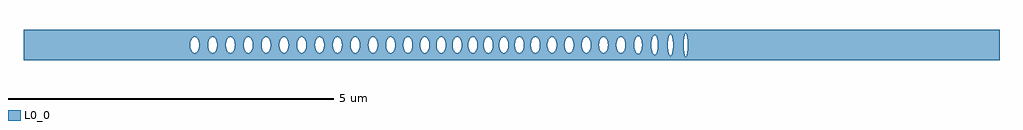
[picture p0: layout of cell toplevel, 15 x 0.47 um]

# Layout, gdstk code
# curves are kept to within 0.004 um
import gdstk
lib = gdstk.Library(unit=1e-6, precision=1e-09)
def P(c, l, *ps):  # polygons
    for p in ps: c.add(gdstk.Polygon(p, *l))
L0_0 = (0, 0)

toplevel = lib.new_cell('toplevel')
P(toplevel, L0_0, [(-4.365,-0.235),(-4.365,-0.096),(-4.382,-0.06),(-4.39,-0.016),(-4.384,0.053),(-4.365,0.096),(-4.365,0.235),(-7.5,0.235),(-7.5,0),(-4.939,0),(-4.934,0.046),(-4.919,0.085),(-4.902,0.109),(-4.873,0.124),(-4.846,0.118),(-4.817,0.085),(-4.801,0.038),(-4.798,-0.016),(-4.664,-0.016),(-4.661,0.038),(-4.651,0.073),(-4.628,0.109),(-4.598,0.124),(-4.572,0.118),(-4.549,0.096),(-4.532,0.06),(-4.524,0.016),(-4.528,-0.046),(-4.537,-0.073),(-4.56,-0.109),(-4.59,-0.124),(-4.616,-0.118),(-4.639,-0.096),(-4.656,-0.06),(-4.664,-0.016),(-4.798,-0.016),(-4.806,-0.06),(-4.83,-0.105),(-4.855,-0.122),(-4.881,-0.122),(-4.906,-0.105),(-4.925,-0.073),(-4.939,0),(-7.5,0),(-7.5,-0.235)],
  [(-4.358,0.105),(-4.324,0.124),(-4.302,0.12),(-4.282,0.105),(-4.254,0.046),(-4.25,-0.016),(-4.116,-0.016),(-4.11,0.053),(-4.091,0.096),(-4.068,0.118),(-4.033,0.122),(-4.008,0.105),(-3.991,0.079),(-3.98,0.046),(-3.975,-0.008),(-3.98,-0.046),(-3.994,-0.085),(-4.012,-0.109),(-4.041,-0.124),(-4.068,-0.118),(-4.091,-0.096),(-4.108,-0.06),(-4.116,-0.016),(-4.25,-0.016),(-4.263,-0.073),(-4.278,-0.1),(-4.298,-0.118),(-4.315,-0.124),(-4.333,-0.122),(-4.365,-0.096),(-4.365,-0.235),(-3.738,-0.235),(-3.738,-0.109),(-3.767,-0.124),(-3.785,-0.122),(-3.806,-0.109),(-3.829,-0.073),(-3.842,-0.016),(-3.839,0.038),(-3.817,0.096),(-3.798,0.115),(-3.776,0.124),(-3.758,0.122),(-3.738,0.109),(-3.738,0.235),(-4.365,0.235),(-4.365,0.096)],
  [(-3.738,0.235),(-3.738,0.109),(-3.71,0.06),(-3.701,-0.008),(-3.568,-0.008),(-3.565,0.038),(-3.555,0.073),(-3.532,0.109),(-3.502,0.124),(-3.476,0.118),(-3.449,0.09),(-3.432,0.046),(-3.427,0.008),(-3.429,-0.031),(-3.443,-0.079),(-3.464,-0.109),(-3.493,-0.124),(-3.519,-0.118),(-3.546,-0.09),(-3.563,-0.046),(-3.568,-0.008),(-3.701,-0.008),(-3.712,-0.067),(-3.738,-0.109),(-3.738,-0.235),(-3.158,-0.235),(-3.158,-0.046),(-3.172,-0.085),(-3.193,-0.112),(-3.21,-0.122),(-3.237,-0.122),(-3.257,-0.109),(-3.275,-0.085),(-3.289,-0.046),(-3.294,-0.008),(-3.292,0.031),(-3.278,0.079),(-3.261,0.105),(-3.237,0.122),(-3.21,0.122),(-3.193,0.112),(-3.172,0.085),(-3.158,0.046),(-3.158,0.235)],
  [(-2.469,-0.031),(-2.468,0.235),(-3.158,0.235),(-3.153,-0.008),(-3.02,-0.008),(-3.018,0.031),(-3.004,0.079),(-2.983,0.109),(-2.954,0.124),(-2.928,0.118),(-2.904,0.096),(-2.882,0.038),(-2.879,-0.008),(-2.746,-0.008),(-2.741,0.046),(-2.73,0.079),(-2.709,0.109),(-2.68,0.124),(-2.653,0.118),(-2.63,0.096),(-2.613,0.06),(-2.605,0.016),(-2.608,-0.038),(-2.618,-0.073),(-2.641,-0.109),(-2.671,-0.124),(-2.697,-0.118),(-2.72,-0.096),(-2.737,-0.06),(-2.746,-0.008),(-2.879,-0.008),(-2.884,-0.046),(-2.904,-0.096),(-2.923,-0.115),(-2.945,-0.124),(-2.971,-0.118),(-2.998,-0.09),(-3.015,-0.046),(-3.02,-0.008),(-3.153,-0.008),(-3.158,-0.046),(-3.158,-0.235),(-2.468,-0.235)],
  [(-1.927,0.016),(-1.912,0.079),(-1.879,0.118),(-1.879,0.235),(-2.468,0.235),(-2.468,0.038),(-2.458,0.073),(-2.439,0.105),(-2.419,0.12),(-2.397,0.124),(-2.367,0.109),(-2.344,0.073),(-2.334,0.038),(-2.331,-0.016),(-2.198,-0.016),(-2.195,0.038),(-2.179,0.085),(-2.15,0.118),(-2.123,0.124),(-2.094,0.109),(-2.076,0.085),(-2.062,0.046),(-2.057,0.008),(-2.062,-0.046),(-2.076,-0.085),(-2.094,-0.109),(-2.123,-0.124),(-2.15,-0.118),(-2.173,-0.096),(-2.19,-0.06),(-2.198,-0.016),(-2.331,-0.016),(-2.339,-0.06),(-2.356,-0.096),(-2.379,-0.118),(-2.397,-0.124),(-2.419,-0.12),(-2.439,-0.105),(-2.458,-0.073),(-2.468,-0.041),(-2.468,-0.235),(-1.879,-0.235),(-1.879,-0.118),(-1.902,-0.096),(-1.917,-0.066),(-1.927,-0.023)],
  [(-1.866,0.123),(-1.844,0.122),(-1.812,0.096),(-1.79,0.038),(-1.787,-0.016),(-1.662,-0.016),(-1.658,0.046),(-1.637,0.096),(-1.605,0.122),(-1.574,0.12),(-1.547,0.096),(-1.53,0.06),(-1.522,-0.016),(-1.53,-0.06),(-1.547,-0.096),(-1.57,-0.118),(-1.588,-0.124),(-1.614,-0.118),(-1.637,-0.096),(-1.654,-0.06),(-1.662,-0.016),(-1.787,-0.016),(-1.8,-0.073),(-1.823,-0.109),(-1.853,-0.124),(-1.879,-0.118),(-1.879,-0.235),(-1.282,-0.235),(-1.282,-0.085),(-1.295,-0.105),(-1.315,-0.12),(-1.337,-0.124),(-1.355,-0.118),(-1.371,-0.105),(-1.39,-0.073),(-1.403,-0.016),(-1.395,0.06),(-1.367,0.109),(-1.346,0.122),(-1.32,0.122),(-1.299,0.109),(-1.282,0.085),(-1.282,0.235),(-1.879,0.235),(-1.879,0.118)],
  [(-1.265,-0.031),(-1.282,-0.085),(-1.282,-0.235),(-0.662,-0.235),(-0.662,0.235),(-1.282,0.235),(-1.282,0.085),(-1.267,0.046),(-1.263,-0.016),(-1.151,-0.016),(-1.148,0.038),(-1.138,0.073),(-1.115,0.109),(-1.085,0.124),(-1.059,0.118),(-1.029,0.085),(-1.012,0.031),(-1.011,-0.016),(-0.905,-0.016),(-0.902,0.038),(-0.88,0.096),(-0.857,0.118),(-0.839,0.124),(-0.822,0.122),(-0.801,0.109),(-0.773,0.06),(-0.764,-0.008),(-0.78,-0.079),(-0.797,-0.105),(-0.817,-0.12),(-0.844,-0.123),(-0.869,-0.109),(-0.892,-0.073),(-0.905,-0.016),(-1.011,-0.016),(-1.015,-0.046),(-1.032,-0.09),(-1.047,-0.109),(-1.076,-0.124),(-1.102,-0.118),(-1.126,-0.096),(-1.138,-0.073),(-1.151,-0.016),(-1.263,-0.016)],
  [(-0.661,0.038),(-0.651,0.073),(-0.632,0.105),(-0.607,0.122),(-0.589,0.124),(-0.56,0.109),(-0.542,0.085),(-0.528,0.046),(-0.524,-0.016),(-0.426,-0.016),(-0.423,0.038),(-0.407,0.085),(-0.378,0.118),(-0.351,0.124),(-0.322,0.109),(-0.304,0.085),(-0.29,0.046),(-0.285,0),(-0.29,-0.046),(-0.304,-0.085),(-0.322,-0.109),(-0.351,-0.124),(-0.378,-0.118),(-0.401,-0.096),(-0.418,-0.06),(-0.426,-0.016),(-0.524,-0.016),(-0.542,-0.085),(-0.56,-0.109),(-0.589,-0.124),(-0.607,-0.122),(-0.632,-0.105),(-0.651,-0.073),(-0.662,-0.034),(-0.662,-0.235),(-0.153,-0.235),(-0.153,-0.109),(-0.176,-0.073),(-0.189,-0.016),(-0.18,0.06),(-0.153,0.109),(-0.153,0.235),(-0.662,0.235)],
  [(0.297,0.016),(0.307,0.066),(0.333,0.109),(0.354,0.122),(0.371,0.124),(0.405,0.105),(0.405,0.235),(-0.153,0.235),(-0.153,0.109),(-0.132,0.122),(-0.114,0.124),(-0.081,0.105),(-0.057,0.06),(-0.048,-0.008),(0.05,-0.008),(0.052,0.031),(0.066,0.079),(0.087,0.109),(0.116,0.124),(0.143,0.118),(0.166,0.096),(0.178,0.073),(0.191,0.016),(0.188,-0.038),(0.178,-0.073),(0.155,-0.109),(0.125,-0.124),(0.099,-0.118),(0.076,-0.096),(0.059,-0.06),(0.05,-0.008),(-0.048,-0.008),(-0.059,-0.066),(-0.085,-0.109),(-0.114,-0.124),(-0.132,-0.122),(-0.153,-0.109),(-0.153,-0.235),(0.405,-0.235),(0.405,-0.105),(0.371,-0.124),(0.349,-0.12),(0.329,-0.105),(0.301,-0.046)],
  [(0.815,0.016),(0.833,0.085),(0.851,0.109),(0.88,0.124),(0.898,0.122),(0.923,0.105),(0.942,0.073),(0.952,0.038),(0.952,0.235),(0.405,0.235),(0.405,0.105),(0.431,0.053),(0.437,-0.008),(0.552,-0.008),(0.555,0.038),(0.565,0.073),(0.592,0.112),(0.618,0.124),(0.644,0.118),(0.671,0.09),(0.688,0.046),(0.693,0.008),(0.691,-0.031),(0.677,-0.079),(0.656,-0.109),(0.627,-0.124),(0.601,-0.118),(0.574,-0.09),(0.557,-0.046),(0.552,-0.008),(0.437,-0.008),(0.429,-0.06),(0.405,-0.105),(0.405,-0.235),(0.952,-0.235),(0.952,-0.038),(0.942,-0.073),(0.923,-0.105),(0.898,-0.122),(0.872,-0.122),(0.847,-0.105),(0.825,-0.066)],
  [(0.953,-0.031),(0.952,-0.235),(1.622,-0.235),(1.622,-0.066),(1.611,-0.016),(1.613,0.031),(1.622,0.066),(1.622,0.235),(0.952,0.235),(0.955,-0.016),(1.079,-0.016),(1.082,0.038),(1.092,0.073),(1.115,0.109),(1.145,0.124),(1.171,0.118),(1.198,0.09),(1.215,0.046),(1.22,0),(1.343,0),(1.348,0.046),(1.369,0.096),(1.392,0.118),(1.423,0.123),(1.459,0.096),(1.476,0.06),(1.484,0.016),(1.481,-0.038),(1.471,-0.073),(1.452,-0.105),(1.427,-0.122),(1.396,-0.12),(1.369,-0.096),(1.348,-0.046),(1.343,0),(1.22,0),(1.215,-0.046),(1.201,-0.085),(1.183,-0.109),(1.154,-0.124),(1.128,-0.118),(1.104,-0.096),(1.092,-0.073),(1.079,-0.016),(0.955,-0.016)],
  [(1.63,0.085),(1.659,0.118),(1.694,0.122),(1.719,0.105),(1.738,0.073),(1.752,0),(1.885,0),(1.891,0.059),(1.904,0.101),(1.931,0.134),(1.954,0.137),(1.972,0.125),(1.993,0.088),(2.004,0.043),(2.006,-0.017),(2.001,-0.059),(1.985,-0.106),(1.972,-0.125),(1.95,-0.138),(1.927,-0.131),(1.904,-0.101),(1.891,-0.059),(1.885,0),(1.752,0),(1.738,-0.073),(1.719,-0.105),(1.694,-0.122),(1.668,-0.122),(1.647,-0.109),(1.622,-0.067),(1.622,-0.235),(2.203,-0.235),(2.203,-0.152),(2.184,-0.145),(2.167,-0.117),(2.155,-0.073),(2.149,-0.01),(2.155,0.073),(2.165,0.111),(2.184,0.145),(2.203,0.152),(2.203,0.235),(1.622,0.235),(1.622,0.066)],
  [(2.246,-0.065),(2.23,-0.123),(2.215,-0.145),(2.203,-0.152),(2.203,-0.235),(7.5,-0.235),(7.5,0.235),(2.203,0.235),(2.203,0.152),(2.221,0.138),(2.239,0.097),(2.249,0.038),(2.249,-0.021),(2.402,-0.021),(2.411,0.106),(2.425,0.15),(2.44,0.166),(2.458,0.154),(2.474,0.106),(2.483,-0.011),(2.647,-0.011),(2.651,0.087),(2.665,0.163),(2.674,0.179),(2.684,0.177),(2.701,0.123),(2.709,0.023),(2.707,-0.066),(2.695,-0.152),(2.68,-0.18),(2.672,-0.177),(2.665,-0.163),(2.657,-0.131),(2.647,-0.011),(2.483,-0.011),(2.474,-0.106),(2.46,-0.15),(2.445,-0.166),(2.432,-0.161),(2.417,-0.128),(2.402,-0.021),(2.249,-0.021)])

lib.write_gds('toplevel.gds')
